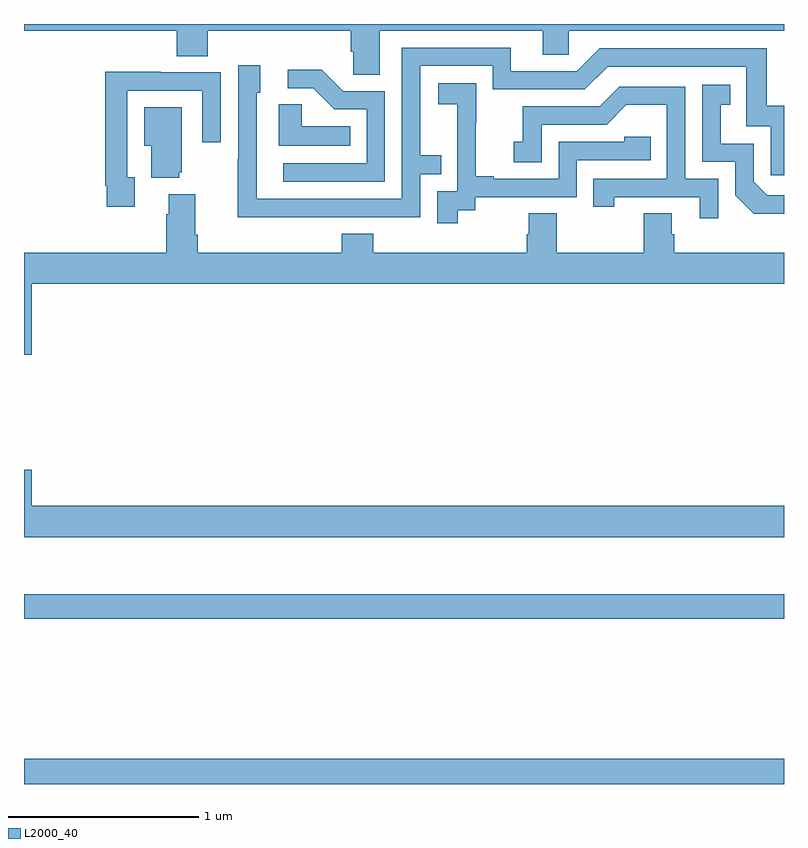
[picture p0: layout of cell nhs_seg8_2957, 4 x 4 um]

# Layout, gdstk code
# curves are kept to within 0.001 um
import gdstk
lib = gdstk.Library(unit=1e-6, precision=1e-09)
def R(c, l, rs):  # rectangles x0, y0, x1, y1
    for r in rs: c.add(gdstk.rectangle(r[:2], r[2:], *l))
def P(c, l, *ps):  # polygons
    for p in ps: c.add(gdstk.Polygon(p, *l))
L2000_40 = (2000, 40)

nhs_seg8_2957 = lib.new_cell('nhs_seg8_2957')
R(nhs_seg8_2957, L2000_40, [(297,1081.9,301,1082.032), (297,1082.77,301,1082.899)])
P(nhs_seg8_2957, L2000_40, [(297,1085.864),(297.803,1085.864),(297.803,1085.731),(297.968,1085.731),(297.968,1085.864),(298.721,1085.864),(298.721,1085.755),(298.734,1085.755),(298.734,1085.632),(298.873,1085.632),(298.873,1085.864),(299.729,1085.864),(299.729,1085.737),(299.868,1085.737),(299.868,1085.864),(301,1085.864),(301,1085.9),(297,1085.9)],
  [(298.589,1084.884),(299.085,1084.884),(299.085,1085.109),(299.195,1085.109),(299.195,1085.21),(299.085,1085.21),(299.085,1085.679),(299.466,1085.679),(299.466,1085.556),(299.952,1085.556),(300.072,1085.676),(300.801,1085.676),(300.801,1085.361),(300.93,1085.361),(300.93,1085.103),(301,1085.103),(301,1085.47),(300.91,1085.47),(300.91,1085.772),(300.03,1085.772),(299.91,1085.652),(299.563,1085.652),(299.563,1085.775),(298.989,1085.775),(298.989,1084.98),(298.224,1084.98),(298.224,1085.538),(298.243,1085.538),(298.243,1085.683),(298.128,1085.683),(298.128,1085.189),(298.126,1085.189),(298.126,1084.883)],
  [(298.899,1085.547),(298.68,1085.547),(298.567,1085.66),(298.389,1085.66),(298.389,1085.562),(298.523,1085.562),(298.634,1085.451),(298.803,1085.451),(298.803,1085.166),(298.365,1085.166),(298.365,1085.07),(298.899,1085.07)],
  [(297.583,1085.094),(297.543,1085.094),(297.543,1085.55),(297.939,1085.55),(297.939,1085.277),(298.035,1085.277),(298.035,1085.646),(297.719,1085.646),(297.719,1085.648),(297.427,1085.648),(297.427,1085.05),(297.435,1085.05),(297.435,1084.938),(297.583,1084.938)],
  [(299.284,1084.921),(299.376,1084.921),(299.376,1084.989),(299.91,1084.989),(299.91,1085.184),(300.299,1085.184),(300.299,1085.307),(300.159,1085.307),(300.159,1085.28),(299.814,1085.28),(299.814,1085.085),(299.473,1085.085),(299.473,1085.098),(299.378,1085.098),(299.378,1085.381),(299.379,1085.381),(299.379,1085.587),(299.181,1085.587),(299.181,1085.477),(299.279,1085.477),(299.279,1085.249),(299.28,1085.249),(299.28,1085.019),(299.175,1085.019),(299.175,1084.851),(299.284,1084.851)],
  [(301,1084.998),(300.912,1084.998),(300.84,1085.07),(300.84,1085.271),(300.667,1085.271),(300.667,1085.475),(300.716,1085.475),(300.716,1085.581),(300.57,1085.581),(300.57,1085.175),(300.744,1085.175),(300.744,1084.998),(300.842,1084.901),(301,1084.901)],
  [(300.654,1085.085),(300.48,1085.085),(300.48,1085.571),(300.134,1085.571),(300.029,1085.466),(299.626,1085.466),(299.626,1085.281),(299.577,1085.281),(299.577,1085.172),(299.724,1085.172),(299.724,1085.37),(300.066,1085.37),(300.17,1085.474),(300.384,1085.474),(300.384,1085.085),(299.995,1085.085),(299.995,1084.938),(300.106,1084.938),(300.106,1084.989),(300.557,1084.989),(300.557,1084.878),(300.654,1084.878)],
  [(298.718,1085.362),(298.461,1085.362),(298.461,1085.477),(298.34,1085.477),(298.34,1085.258),(298.718,1085.258)],
  [(297.818,1085.121),(297.829,1085.121),(297.829,1085.461),(297.632,1085.461),(297.632,1085.258),(297.671,1085.258),(297.671,1085.09),(297.818,1085.09)],
  [(297.04,1084.532),(301,1084.532),(301,1084.696),(300.422,1084.696),(300.422,1084.794),(300.409,1084.794),(300.409,1084.904),(300.262,1084.904),(300.262,1084.696),(299.805,1084.696),(299.805,1084.904),(299.657,1084.904),(299.657,1084.794),(299.645,1084.794),(299.645,1084.696),(298.838,1084.696),(298.838,1084.795),(298.673,1084.795),(298.673,1084.696),(297.914,1084.696),(297.914,1084.792),(297.901,1084.792),(297.901,1085.005),(297.761,1085.005),(297.761,1084.898),(297.749,1084.898),(297.749,1084.696),(297,1084.696),(297,1084.158),(297.04,1084.158)],
  [(301,1083.364),(297.04,1083.364),(297.04,1083.553),(297,1083.553),(297,1083.2),(301,1083.2)])

lib.write_gds('nhs_seg8_2957.gds')
